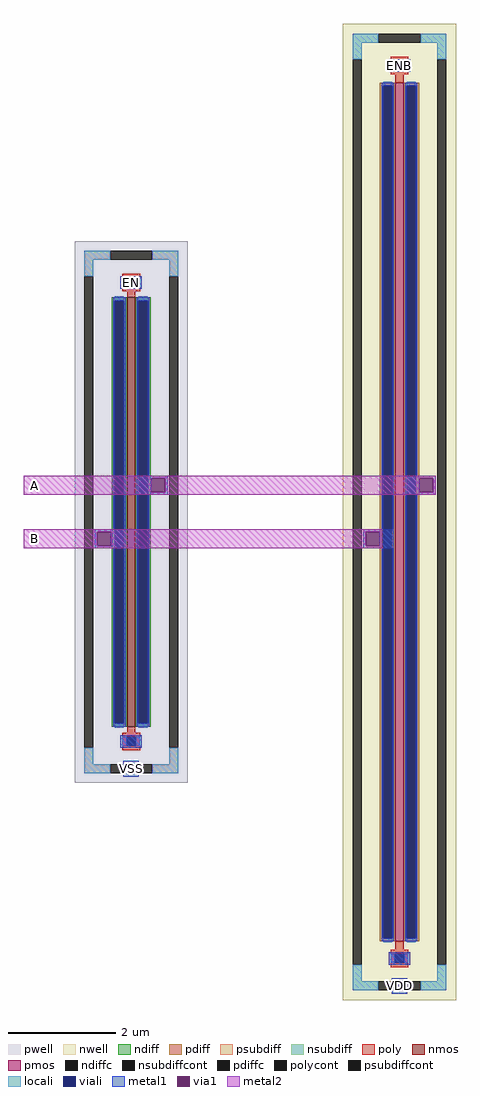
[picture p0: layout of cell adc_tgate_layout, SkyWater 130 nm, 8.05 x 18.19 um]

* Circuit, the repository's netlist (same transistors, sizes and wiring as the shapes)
* NGSPICE file created from adc_tgate_layout.ext - technology: sky130A

.subckt tg_nfet8 B D S G
X0 S G D B sky130_fd_pr__nfet_01v8 ad=2.32 pd=16.58 as=2.32 ps=16.58 w=8 l=0.15
.ends

.subckt tg_pfet16 B D S G
X0 S G D B sky130_fd_pr__pfet_01v8 ad=4.64 pd=32.58 as=4.64 ps=32.58 w=16 l=0.15
.ends

.subckt adc_tgate_layout A B EN ENB VDD VSS
XXN VSS B A EN tg_nfet8
XXP VDD B A ENB tg_pfet16
.ends

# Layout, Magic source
magic
tech sky130A
magscale 1 2
<< viali >>
rect 983 1026 1017 1060
rect 1983 217 2017 251
<< metal1 >>
rect 1960 3641 2040 3687
rect 960 2832 1040 2878
rect 1021 2126 1136 2136
rect 1021 2074 1074 2126
rect 1126 2074 1136 2126
rect 1021 2064 1136 2074
rect 2021 2126 2136 2136
rect 2021 2074 2074 2126
rect 2126 2074 2136 2126
rect 2021 2064 2136 2074
rect 864 1926 979 1936
rect 864 1874 874 1926
rect 926 1874 979 1926
rect 864 1864 979 1874
rect 1864 1926 1979 1936
rect 1864 1874 1874 1926
rect 1926 1874 1979 1926
rect 1864 1864 1979 1874
rect 960 1122 1040 1168
rect 971 1060 1029 1072
rect 971 1026 983 1060
rect 1017 1026 1029 1060
rect 971 1014 1029 1026
rect 1960 313 2040 359
rect 1971 251 2029 263
rect 1971 217 1983 251
rect 2017 217 2029 251
rect 1971 205 2029 217
<< via1 >>
rect 1074 2074 1126 2126
rect 2074 2074 2126 2126
rect 874 1874 926 1926
rect 1874 1874 1926 1926
<< metal2 >>
rect 600 2126 2136 2136
rect 600 2074 1074 2126
rect 1126 2074 2074 2126
rect 2126 2074 2136 2126
rect 600 2064 2136 2074
rect 600 1926 1936 1936
rect 600 1874 874 1926
rect 926 1874 1874 1926
rect 1926 1874 1936 1926
rect 600 1864 1936 1874
use tg_nfet8  XN
transform 1 0 1000 0 1 2000
box -211 -1010 211 1010
use tg_pfet16  XP
transform 1 0 2000 0 1 2000
box -211 -1819 211 1819
<< labels >>
rlabel metal2 600 2064 680 2136 0 A
port 1 nsew signal bidirectional
rlabel metal2 600 1864 680 1936 0 B
port 2 nsew signal bidirectional
rlabel metal1 960 2832 1040 2878 0 EN
port 3 nsew signal bidirectional
rlabel metal1 1960 3641 2040 3687 0 ENB
port 4 nsew signal bidirectional
rlabel metal1 1971 205 2029 263 0 VDD
port 5 nsew power bidirectional
rlabel metal1 971 1014 1029 1072 0 VSS
port 6 nsew ground bidirectional
<< end >>

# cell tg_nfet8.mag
magic
tech sky130A
magscale 1 2
<< pwell >>
rect -211 -1010 211 1010
<< nmos >>
rect -15 -800 15 800
<< ndiff >>
rect -73 788 -15 800
rect -73 -788 -61 788
rect -27 -788 -15 788
rect -73 -800 -15 -788
rect 15 788 73 800
rect 15 -788 27 788
rect 61 -788 73 788
rect 15 -800 73 -788
<< ndiffc >>
rect -61 -788 -27 788
rect 27 -788 61 788
<< psubdiff >>
rect -175 940 -79 974
rect 79 940 175 974
rect -175 878 -141 940
rect 141 878 175 940
rect -175 -940 -141 -878
rect 141 -940 175 -878
rect -175 -974 -79 -940
rect 79 -974 175 -940
<< psubdiffcont >>
rect -79 940 79 974
rect -175 -878 -141 878
rect 141 -878 175 878
rect -79 -974 79 -940
<< poly >>
rect -33 872 33 888
rect -33 838 -17 872
rect 17 838 33 872
rect -33 822 33 838
rect -15 800 15 822
rect -15 -822 15 -800
rect -33 -838 33 -822
rect -33 -872 -17 -838
rect 17 -872 33 -838
rect -33 -888 33 -872
<< polycont >>
rect -17 838 17 872
rect -17 -872 17 -838
<< locali >>
rect -175 940 -79 974
rect 79 940 175 974
rect -175 878 -141 940
rect 141 878 175 940
rect -33 838 -17 872
rect 17 838 33 872
rect -61 788 -27 804
rect -61 -804 -27 -788
rect 27 788 61 804
rect 27 -804 61 -788
rect -33 -872 -17 -838
rect 17 -872 33 -838
rect -175 -940 -141 -878
rect 141 -940 175 -878
rect -175 -974 -79 -940
rect 79 -974 175 -940
<< viali >>
rect -17 838 17 872
rect -61 -788 -27 788
rect 27 -788 61 788
rect -17 -872 17 -838
<< metal1 >>
rect -29 872 29 878
rect -29 838 -17 872
rect 17 838 29 872
rect -29 832 29 838
rect -67 788 -21 800
rect -67 -788 -61 788
rect -27 -788 -21 788
rect -67 -800 -21 -788
rect 21 788 67 800
rect 21 -788 27 788
rect 61 -788 67 788
rect 21 -800 67 -788
rect -29 -838 29 -832
rect -29 -872 -17 -838
rect 17 -872 29 -838
rect -29 -878 29 -872
<< labels >>
rlabel psubdiffcont 0 -957 0 -957 0 B
port 1 nsew
rlabel ndiffc -44 0 -44 0 0 D
port 2 nsew
rlabel ndiffc 44 0 44 0 0 S
port 3 nsew
rlabel polycont 0 855 0 855 0 G
port 4 nsew
<< properties >>
string FIXED_BBOX -158 -957 158 957
<< end >>

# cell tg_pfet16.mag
magic
tech sky130A
magscale 1 2
<< nwell >>
rect -211 -1819 211 1819
<< pmos >>
rect -15 -1600 15 1600
<< pdiff >>
rect -73 1588 -15 1600
rect -73 -1588 -61 1588
rect -27 -1588 -15 1588
rect -73 -1600 -15 -1588
rect 15 1588 73 1600
rect 15 -1588 27 1588
rect 61 -1588 73 1588
rect 15 -1600 73 -1588
<< pdiffc >>
rect -61 -1588 -27 1588
rect 27 -1588 61 1588
<< nsubdiff >>
rect -175 1749 -79 1783
rect 79 1749 175 1783
rect -175 1687 -141 1749
rect 141 1687 175 1749
rect -175 -1749 -141 -1687
rect 141 -1749 175 -1687
rect -175 -1783 -79 -1749
rect 79 -1783 175 -1749
<< nsubdiffcont >>
rect -79 1749 79 1783
rect -175 -1687 -141 1687
rect 141 -1687 175 1687
rect -79 -1783 79 -1749
<< poly >>
rect -33 1681 33 1697
rect -33 1647 -17 1681
rect 17 1647 33 1681
rect -33 1631 33 1647
rect -15 1600 15 1631
rect -15 -1631 15 -1600
rect -33 -1647 33 -1631
rect -33 -1681 -17 -1647
rect 17 -1681 33 -1647
rect -33 -1697 33 -1681
<< polycont >>
rect -17 1647 17 1681
rect -17 -1681 17 -1647
<< locali >>
rect -175 1749 -79 1783
rect 79 1749 175 1783
rect -175 1687 -141 1749
rect 141 1687 175 1749
rect -33 1647 -17 1681
rect 17 1647 33 1681
rect -61 1588 -27 1604
rect -61 -1604 -27 -1588
rect 27 1588 61 1604
rect 27 -1604 61 -1588
rect -33 -1681 -17 -1647
rect 17 -1681 33 -1647
rect -175 -1749 -141 -1687
rect 141 -1749 175 -1687
rect -175 -1783 -79 -1749
rect 79 -1783 175 -1749
<< viali >>
rect -17 1647 17 1681
rect -61 -1588 -27 1588
rect 27 -1588 61 1588
rect -17 -1681 17 -1647
<< metal1 >>
rect -29 1681 29 1687
rect -29 1647 -17 1681
rect 17 1647 29 1681
rect -29 1641 29 1647
rect -67 1588 -21 1600
rect -67 -1588 -61 1588
rect -27 -1588 -21 1588
rect -67 -1600 -21 -1588
rect 21 1588 67 1600
rect 21 -1588 27 1588
rect 61 -1588 67 1588
rect 21 -1600 67 -1588
rect -29 -1647 29 -1641
rect -29 -1681 -17 -1647
rect 17 -1681 29 -1647
rect -29 -1687 29 -1681
<< labels >>
rlabel nsubdiffcont 0 -1766 0 -1766 0 B
port 1 nsew
rlabel pdiffc -44 0 -44 0 0 D
port 2 nsew
rlabel pdiffc 44 0 44 0 0 S
port 3 nsew
rlabel polycont 0 1664 0 1664 0 G
port 4 nsew
<< properties >>
string FIXED_BBOX -158 -1766 158 1766
<< end >>
